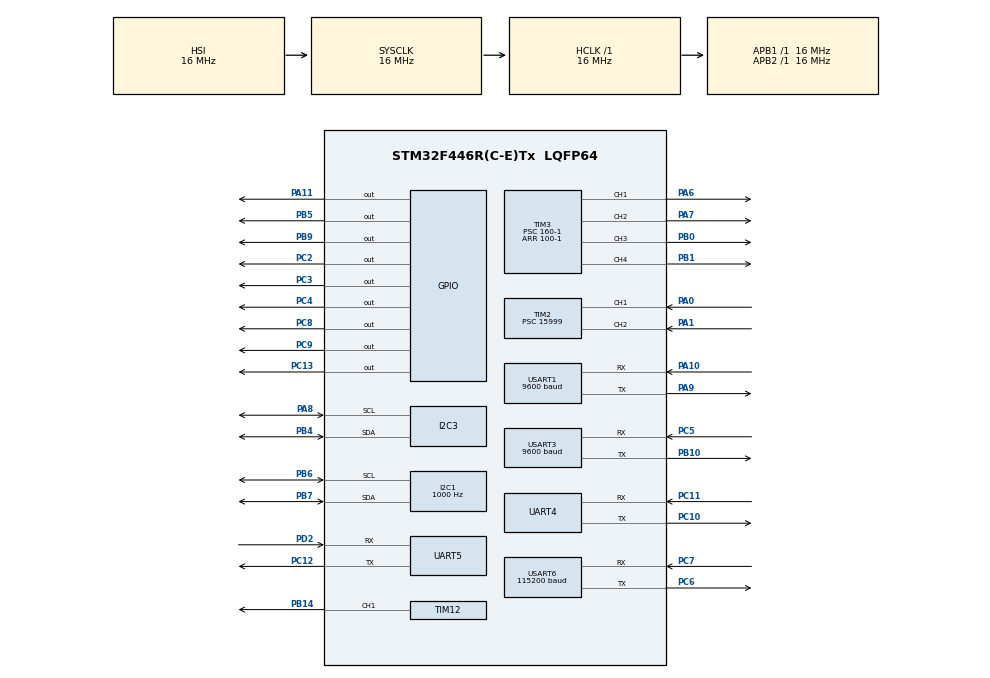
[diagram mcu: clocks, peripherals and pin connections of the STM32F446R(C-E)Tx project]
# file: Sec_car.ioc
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I2C1.ClockSpeed=1000
Mcu.Family=STM32F4
Mcu.Name=STM32F446R(C-E)Tx
Mcu.Package=LQFP64
NVIC.PriorityGroup=NVIC_PRIORITYGROUP_4
NVIC.TIM2_IRQn=true\:0\:0\:true\:false\:true\:true\:true\:true
NVIC.TIM7_IRQn=true\:15\:0\:false\:false\:true\:false\:true\:true
NVIC.TimeBase=TIM7_IRQn
NVIC.TimeBaseIP=TIM7
NVIC.UART4_IRQn=true\:6\:0\:true\:false\:true\:true\:true\:true
NVIC.UART5_IRQn=true\:6\:0\:true\:false\:true\:true\:true\:true
NVIC.USART1_IRQn=true\:8\:0\:true\:false\:true\:true\:true\:true
NVIC.USART3_IRQn=true\:7\:0\:true\:false\:true\:true\:true\:true
NVIC.USART6_IRQn=true\:6\:0\:true\:false\:true\:true\:true\:true
PA0-WKUP.Signal=S_TIM2_CH1_ETR
PA1.Signal=S_TIM2_CH2
PA10.Mode=Asynchronous
PA10.Signal=USART1_RX
PA11.Signal=GPIO_Output
PA6.Signal=S_TIM3_CH1
PA7.Signal=S_TIM3_CH2
PA8.Mode=I2C
PA8.Signal=I2C3_SCL
PA9.Mode=Asynchronous
PA9.Signal=USART1_TX
PB0.Signal=S_TIM3_CH3
PB1.Signal=S_TIM3_CH4
PB10.Mode=Asynchronous
PB10.Signal=USART3_TX
PB14.Signal=S_TIM12_CH1
PB4.Mode=I2C
PB4.Signal=I2C3_SDA
PB5.Signal=GPIO_Output
PB6.Mode=I2C
PB6.Signal=I2C1_SCL
PB7.Mode=I2C
PB7.Signal=I2C1_SDA
PB9.Signal=GPIO_Output
PC10.Mode=Asynchronous
PC10.Signal=UART4_TX
PC11.Mode=Asynchronous
PC11.Signal=UART4_RX
PC12.Mode=Asynchronous
PC12.Signal=UART5_TX
PC13.Signal=GPIO_Output
PC2.Signal=GPIO_Output
PC3.Signal=GPIO_Output
PC4.Signal=GPIO_Output
PC5.Mode=Asynchronous
PC5.Signal=USART3_RX
PC6.Mode=Asynchronous
PC6.Signal=USART6_TX
PC7.Mode=Asynchronous
PC7.Signal=USART6_RX
PC8.Signal=GPIO_Output
PC9.Signal=GPIO_Output
PD2.Mode=Asynchronous
PD2.Signal=UART5_RX
ProjectManager.HeapSize=0x200
ProjectManager.StackSize=0x400
ProjectManager.TargetToolchain=STM32CubeIDE
RCC.AHBFreq_Value=16000000
RCC.APB1Freq_Value=16000000
RCC.APB1TimFreq_Value=16000000
RCC.APB2Freq_Value=16000000
RCC.APB2TimFreq_Value=16000000
RCC.CortexFreq_Value=16000000
RCC.HCLKFreq_Value=16000000
RCC.PLLM=8
RCC.PLLN=64
RCC.SYSCLKFreq_VALUE=16000000
RCC.USBFreq_Value=64000000
RCC.VCOOutputFreq_Value=128000000
SH.S_TIM12_CH1.0=TIM12_CH1,PWM Generation1 CH1
SH.S_TIM2_CH1_ETR.0=TIM2_CH1,Input_Capture1_from_TI1
SH.S_TIM2_CH2.0=TIM2_CH2,Input_Capture2_from_TI2
SH.S_TIM3_CH1.0=TIM3_CH1,PWM Generation1 CH1
SH.S_TIM3_CH2.0=TIM3_CH2,PWM Generation2 CH2
SH.S_TIM3_CH3.0=TIM3_CH3,PWM Generation3 CH3
SH.S_TIM3_CH4.0=TIM3_CH4,PWM Generation4 CH4
TIM12.Channel-PWM\ Generation1\ CH1=TIM_CHANNEL_1
TIM12.Period=100-1
TIM12.Prescaler=80-1
TIM2.Channel-Input_Capture1_from_TI1=TIM_CHANNEL_1
TIM2.Channel-Input_Capture2_from_TI2=TIM_CHANNEL_2
TIM2.ICPolarity_CH1=TIM_INPUTCHANNELPOLARITY_BOTHEDGE
TIM2.Period=999
TIM2.Prescaler=15999
TIM3.Channel-PWM\ Generation1\ CH1=TIM_CHANNEL_1
TIM3.Channel-PWM\ Generation2\ CH2=TIM_CHANNEL_2
TIM3.Channel-PWM\ Generation3\ CH3=TIM_CHANNEL_3
TIM3.Channel-PWM\ Generation4\ CH4=TIM_CHANNEL_4
TIM3.Period=100-1
TIM3.Prescaler=160-1
UART4.VirtualMode=Asynchronous
UART5.VirtualMode=Asynchronous
USART1.BaudRate=9600
USART1.VirtualMode=VM_ASYNC
USART3.BaudRate=9600
USART3.VirtualMode=VM_ASYNC
USART6.BaudRate=115200
USART6.VirtualMode=VM_ASYNC
VP_SYS_VS_tim7.Mode=TIM7
VP_TIM6_VS_ClockSourceINT.Mode=Enable_Timer
board=custom

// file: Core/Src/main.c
/* USER CODE BEGIN Header */
/**
 ******************************************************************************
 * @file           : main.c
 * @brief          : Main program body
 ******************************************************************************
 * @attention
 *
 * Copyright (c) 2024 STMicroelectronics.
 * All rights reserved.
 *
 * This software is licensed under terms that can be found in the LICENSE file
 * in the root directory of this software component.
 * If no LICENSE file comes with this software, it is provided AS-IS.
 *
 ******************************************************************************
 */
/* USER CODE END Header */
#include "main.h"

/* USER CODE BEGIN Includes */
#include "FreeRTOS.h"
#include "task.h"
#include "timers.h"
#include "semphr.h"

#include "LCD_I2C.h"
#include "GPS.h"
#include "Help_Functions.h"
#include "calculateSpeed.h"
#include "Tasks.h"
#include "Call_Back_functions.h"
/* USER CODE END Includes */

I2C_HandleTypeDef hi2c1;
I2C_HandleTypeDef hi2c3;

TIM_HandleTypeDef htim2;
TIM_HandleTypeDef htim3;
TIM_HandleTypeDef htim6;
TIM_HandleTypeDef htim12;

UART_HandleTypeDef huart4;
UART_HandleTypeDef huart5;
UART_HandleTypeDef huart1;
UART_HandleTypeDef huart3;
UART_HandleTypeDef huart6;

/* USER CODE BEGIN PV */
#define DWT_CTRL	(*(volatile uint32_t*)0xE0001000)
/* USER CODE END PV */

void SystemClock_Config(void);
static void MX_GPIO_Init(void);
static void MX_I2C1_Init(void);
static void MX_USART1_UART_Init(void);
static void MX_USART3_UART_Init(void);
static void MX_TIM2_Init(void);
static void MX_I2C3_Init(void);
static void MX_TIM3_Init(void);
static void MX_TIM6_Init(void);
static void MX_TIM12_Init(void);
static void MX_USART6_UART_Init(void);
static void MX_UART4_Init(void);
static void MX_UART5_Init(void);

/* USER CODE BEGIN 0 */
/*****************************************Global_Varibles****************************************/
/*Received Global Blue tooth*/
uint8_t received_char;

uint8_t  ESP_Recieved_Char;
uint16_t Rasp_Recieved_Char;

/*Creating tasks handlers*/
TaskHandle_t Handle_CarControl;
TaskHandle_t Handle_GPS;
TaskHandle_t Handle_ESP_Periodic;
TaskHandle_t Handle_ESP_Status;
TaskHandle_t Handle_ESP_Receive;
TaskHandle_t Handle_Rasp_ReceiveData;

/*Creating a variable to save the return of the xcreateTask function (pdPass or pdFail)*/
BaseType_t Status_CarControl;
BaseType_t Status_GPS;
BaseType_t Status_ESP_Periodic;
BaseType_t Status_ESP_Status;
BaseType_t Status_ESP_Receive;
BaseType_t Status_Rasp_Receive;

/* Creating SW Timers handles and ID */
TimerHandle_t Handle_Timer_LightStop;
uint8_t ID_TImer_LightStop = 4;

/* USER CODE END 0 */

int main(void)
{

  /* MCU Configuration--------------------------------------------------------*/

  /* Reset of all peripherals, Initializes the Flash interface and the Systick. */
  HAL_Init();

  /* Configure the system clock */
  SystemClock_Config();

  /* Initialize all configured peripherals */
  MX_GPIO_Init();
  MX_I2C1_Init();
  MX_USART1_UART_Init();
  MX_USART3_UART_Init();
  MX_TIM2_Init();
  MX_I2C3_Init();
  MX_TIM3_Init();
  MX_TIM6_Init();
  MX_TIM12_Init();
  MX_USART6_UART_Init();
  MX_UART4_Init();
  MX_UART5_Init();
  /* USER CODE BEGIN 2 */
	/********************************Hardware_Initializing*********************************************/
	//GPS_voidInit();
	LCD_voidInit();

	/********************************Interrupts_Starting***********************************************/
	HAL_UART_Receive_IT(&huart5,&ESP_Recieved_Char,2);                   //ESP
	HAL_UART_Receive_IT(&huart6,&Rasp_Recieved_Char,1);				 	 //Raspberry
	HAL_UART_Receive_IT(&huart3,&received_char ,1);                      //Blue tooth
	__HAL_TIM_ENABLE_IT(&htim2, TIM_IT_UPDATE);                          //Speed
	HAL_TIM_IC_Start_IT(&htim2, TIM_CHANNEL_1);                          //Speed
	HAL_TIM_IC_Start_IT(&htim2, TIM_CHANNEL_2);							 //Speed

	/********************************SEGGER_Starting***************************************************/
	//Enable the CYCCN counter (For SEGGER)
	//		DWT_CTRL |= (1<<0);
	//
	//		SEGGER_SYSVIEW_Conf();
	//
	//		SEGGER_SYSVIEW_Start();

		/************************************SW_Timers-Creation********************************************/
		Handle_Timer_LightStop = xTimerCreate("Timer_LightStop", pdMS_TO_TICKS(5000), pdFALSE, &ID_TImer_LightStop, CallBack_TimerLightStop);

		/************************************TASKS_Creation************************************************/
		Status_GPS = xTaskCreate(TASK_GPS, "GPS", 150, NULL, Priority_TASK_GPS, &Handle_GPS);

		configASSERT(Status_GPS==pdPASS);

		Status_CarControl = xTaskCreate(TASK_CarControl, "CarControl", 200, NULL, Priority_TASK_CarControl, &Handle_CarControl);

		configASSERT(Status_CarControl==pdPASS);

		Status_ESP_Periodic = xTaskCreate(TASK_ESPSend_PeriodicData, "ESP_Periodic", 200, NULL, Priority_TASK_ESP_Periodic, &Handle_ESP_Periodic);

		configASSERT(Status_ESP_Periodic==pdPASS);

		Status_ESP_Status = xTaskCreate(TASK_ESP_SendStatus, "ESP_Status", 200, NULL, Priority_TASK_ESP_Status, &Handle_ESP_Status);

		configASSERT(Status_ESP_Status==pdPASS);

		Status_ESP_Receive = xTaskCreate(TASK_ESP_Receive, "ESP_Receive", 200, NULL, Priority_TASK_ESP_Receive, &Handle_ESP_Receive);

		configASSERT(Status_ESP_Receive==pdPASS);

		Status_Rasp_Receive = xTaskCreate(TASK_Rasp_Receive, "Rasp_Recieve", 200, NULL ,Priority_TASK_Rasp_Recieve, &Handle_Rasp_ReceiveData);

		configASSERT(Status_Rasp_Receive == pdPASS);

		/**********************************Schedular_Starting********************************************/
		vTaskStartScheduler();

  /* USER CODE END 2 */

  /* Infinite loop */
	while (1)
	{

	}
}

void SystemClock_Config(void)
{
  RCC_OscInitTypeDef RCC_OscInitStruct = {0};
  RCC_ClkInitTypeDef RCC_ClkInitStruct = {0};

  /** Configure the main internal regulator output voltage
  */
  __HAL_RCC_PWR_CLK_ENABLE();
  __HAL_PWR_VOLTAGESCALING_CONFIG(PWR_REGULATOR_VOLTAGE_SCALE3);

  /** Initializes the RCC Oscillators according to the specified parameters
  * in the RCC_OscInitTypeDef structure.
  */
  RCC_OscInitStruct.OscillatorType = RCC_OSCILLATORTYPE_HSI;
  RCC_OscInitStruct.HSIState = RCC_HSI_ON;
  RCC_OscInitStruct.HSICalibrationValue = RCC_HSICALIBRATION_DEFAULT;
  RCC_OscInitStruct.PLL.PLLState = RCC_PLL_NONE;
  if (HAL_RCC_OscConfig(&RCC_OscInitStruct) != HAL_OK)
  {
    Error_Handler();
  }

  /** Initializes the CPU, AHB and APB buses clocks
  */
  RCC_ClkInitStruct.ClockType = RCC_CLOCKTYPE_HCLK|RCC_CLOCKTYPE_SYSCLK
                              |RCC_CLOCKTYPE_PCLK1|RCC_CLOCKTYPE_PCLK2;
  RCC_ClkInitStruct.SYSCLKSource = RCC_SYSCLKSOURCE_HSI;
  RCC_ClkInitStruct.AHBCLKDivider = RCC_SYSCLK_DIV1;
  RCC_ClkInitStruct.APB1CLKDivider = RCC_HCLK_DIV1;
  RCC_ClkInitStruct.APB2CLKDivider = RCC_HCLK_DIV1;

  if (HAL_RCC_ClockConfig(&RCC_ClkInitStruct, FLASH_LATENCY_0) != HAL_OK)
  {
    Error_Handler();
  }
}

static void MX_I2C1_Init(void)
{

  hi2c1.Instance = I2C1;
  hi2c1.Init.ClockSpeed = 1000;
  hi2c1.Init.DutyCycle = I2C_DUTYCYCLE_2;
  hi2c1.Init.OwnAddress1 = 0;
  hi2c1.Init.AddressingMode = I2C_ADDRESSINGMODE_7BIT;
  hi2c1.Init.DualAddressMode = I2C_DUALADDRESS_DISABLE;
  hi2c1.Init.OwnAddress2 = 0;
  hi2c1.Init.GeneralCallMode = I2C_GENERALCALL_DISABLE;
  hi2c1.Init.NoStretchMode = I2C_NOSTRETCH_DISABLE;
  if (HAL_I2C_Init(&hi2c1) != HAL_OK)
  {
    Error_Handler();
  }

}

static void MX_I2C3_Init(void)
{

  hi2c3.Instance = I2C3;
  hi2c3.Init.ClockSpeed = 100000;
  hi2c3.Init.DutyCycle = I2C_DUTYCYCLE_2;
  hi2c3.Init.OwnAddress1 = 0;
  hi2c3.Init.AddressingMode = I2C_ADDRESSINGMODE_7BIT;
  hi2c3.Init.DualAddressMode = I2C_DUALADDRESS_DISABLE;
  hi2c3.Init.OwnAddress2 = 0;
  hi2c3.Init.GeneralCallMode = I2C_GENERALCALL_DISABLE;
  hi2c3.Init.NoStretchMode = I2C_NOSTRETCH_DISABLE;
  if (HAL_I2C_Init(&hi2c3) != HAL_OK)
  {
    Error_Handler();
  }

}

static void MX_TIM2_Init(void)
{

  TIM_MasterConfigTypeDef sMasterConfig = {0};
  TIM_IC_InitTypeDef sConfigIC = {0};

  htim2.Instance = TIM2;
  htim2.Init.Prescaler = 15999;
  htim2.Init.CounterMode = TIM_COUNTERMODE_UP;
  htim2.Init.Period = 999;
  htim2.Init.ClockDivision = TIM_CLOCKDIVISION_DIV1;
  htim2.Init.AutoReloadPreload = TIM_AUTORELOAD_PRELOAD_DISABLE;
  if (HAL_TIM_IC_Init(&htim2) != HAL_OK)
  {
    Error_Handler();
  }
  sMasterConfig.MasterOutputTrigger = TIM_TRGO_RESET;
  sMasterConfig.MasterSlaveMode = TIM_MASTERSLAVEMODE_DISABLE;
  if (HAL_TIMEx_MasterConfigSynchronization(&htim2, &sMasterConfig) != HAL_OK)
  {
    Error_Handler();
  }
  sConfigIC.ICPolarity = TIM_INPUTCHANNELPOLARITY_BOTHEDGE;
  sConfigIC.ICSelection = TIM_ICSELECTION_DIRECTTI;
  sConfigIC.ICPrescaler = TIM_ICPSC_DIV1;
  sConfigIC.ICFilter = 0;
  if (HAL_TIM_IC_ConfigChannel(&htim2, &sConfigIC, TIM_CHANNEL_1) != HAL_OK)
  {
    Error_Handler();
  }
  sConfigIC.ICPolarity = TIM_INPUTCHANNELPOLARITY_RISING;
  if (HAL_TIM_IC_ConfigChannel(&htim2, &sConfigIC, TIM_CHANNEL_2) != HAL_OK)
  {
    Error_Handler();
  }

}

static void MX_TIM3_Init(void)
{

  TIM_MasterConfigTypeDef sMasterConfig = {0};
  TIM_OC_InitTypeDef sConfigOC = {0};

  htim3.Instance = TIM3;
  htim3.Init.Prescaler = 160-1;
  htim3.Init.CounterMode = TIM_COUNTERMODE_UP;
  htim3.Init.Period = 100-1;
  htim3.Init.ClockDivision = TIM_CLOCKDIVISION_DIV1;
  htim3.Init.AutoReloadPreload = TIM_AUTORELOAD_PRELOAD_DISABLE;
  if (HAL_TIM_PWM_Init(&htim3) != HAL_OK)
  {
    Error_Handler();
  }
  sMasterConfig.MasterOutputTrigger = TIM_TRGO_RESET;
  sMasterConfig.MasterSlaveMode = TIM_MASTERSLAVEMODE_DISABLE;
  if (HAL_TIMEx_MasterConfigSynchronization(&htim3, &sMasterConfig) != HAL_OK)
  {
    Error_Handler();
  }
  sConfigOC.OCMode = TIM_OCMODE_PWM1;
  sConfigOC.Pulse = 0;
  sConfigOC.OCPolarity = TIM_OCPOLARITY_HIGH;
  sConfigOC.OCFastMode = TIM_OCFAST_DISABLE;
  if (HAL_TIM_PWM_ConfigChannel(&htim3, &sConfigOC, TIM_CHANNEL_1) != HAL_OK)
  {
    Error_Handler();
  }
  if (HAL_TIM_PWM_ConfigChannel(&htim3, &sConfigOC, TIM_CHANNEL_2) != HAL_OK)
  {
    Error_Handler();
  }
  if (HAL_TIM_PWM_ConfigChannel(&htim3, &sConfigOC, TIM_CHANNEL_3) != HAL_OK)
  {
    Error_Handler();
  }
  if (HAL_TIM_PWM_ConfigChannel(&htim3, &sConfigOC, TIM_CHANNEL_4) != HAL_OK)
  {
    Error_Handler();
  }
  HAL_TIM_MspPostInit(&htim3);

}

static void MX_TIM6_Init(void)
{

  TIM_MasterConfigTypeDef sMasterConfig = {0};

  htim6.Instance = TIM6;
  htim6.Init.Prescaler = 0;
  htim6.Init.CounterMode = TIM_COUNTERMODE_UP;
  htim6.Init.Period = 65535;
  htim6.Init.AutoReloadPreload = TIM_AUTORELOAD_PRELOAD_DISABLE;
  if (HAL_TIM_Base_Init(&htim6) != HAL_OK)
  {
    Error_Handler();
  }
  sMasterConfig.MasterOutputTrigger = TIM_TRGO_RESET;
  sMasterConfig.MasterSlaveMode = TIM_MASTERSLAVEMODE_DISABLE;
  if (HAL_TIMEx_MasterConfigSynchronization(&htim6, &sMasterConfig) != HAL_OK)
  {
    Error_Handler();
  }

}

static void MX_TIM12_Init(void)
{

  TIM_OC_InitTypeDef sConfigOC = {0};

  htim12.Instance = TIM12;
  htim12.Init.Prescaler = 80-1;
  htim12.Init.CounterMode = TIM_COUNTERMODE_UP;
  htim12.Init.Period = 100-1;
  htim12.Init.ClockDivision = TIM_CLOCKDIVISION_DIV1;
  htim12.Init.AutoReloadPreload = TIM_AUTORELOAD_PRELOAD_DISABLE;
  if (HAL_TIM_PWM_Init(&htim12) != HAL_OK)
  {
    Error_Handler();
  }
  sConfigOC.OCMode = TIM_OCMODE_PWM1;
  sConfigOC.Pulse = 0;
  sConfigOC.OCPolarity = TIM_OCPOLARITY_HIGH;
  sConfigOC.OCFastMode = TIM_OCFAST_DISABLE;
  if (HAL_TIM_PWM_ConfigChannel(&htim12, &sConfigOC, TIM_CHANNEL_1) != HAL_OK)
  {
    Error_Handler();
  }
  HAL_TIM_MspPostInit(&htim12);

}

static void MX_UART4_Init(void)
{

  huart4.Instance = UART4;
  huart4.Init.BaudRate = 115200;
  huart4.Init.WordLength = UART_WORDLENGTH_8B;
  huart4.Init.StopBits = UART_STOPBITS_1;
  huart4.Init.Parity = UART_PARITY_NONE;
  huart4.Init.Mode = UART_MODE_TX_RX;
  huart4.Init.HwFlowCtl = UART_HWCONTROL_NONE;
  huart4.Init.OverSampling = UART_OVERSAMPLING_16;
  if (HAL_UART_Init(&huart4) != HAL_OK)
  {
    Error_Handler();
  }

}

static void MX_UART5_Init(void)
{

  huart5.Instance = UART5;
  huart5.Init.BaudRate = 115200;
  huart5.Init.WordLength = UART_WORDLENGTH_8B;
  huart5.Init.StopBits = UART_STOPBITS_1;
  huart5.Init.Parity = UART_PARITY_NONE;
  huart5.Init.Mode = UART_MODE_TX_RX;
  huart5.Init.HwFlowCtl = UART_HWCONTROL_NONE;
  huart5.Init.OverSampling = UART_OVERSAMPLING_16;
  if (HAL_UART_Init(&huart5) != HAL_OK)
  {
    Error_Handler();
  }

}

static void MX_USART1_UART_Init(void)
{

  huart1.Instance = USART1;
  huart1.Init.BaudRate = 9600;
  huart1.Init.WordLength = UART_WORDLENGTH_8B;
  huart1.Init.StopBits = UART_STOPBITS_1;
  huart1.Init.Parity = UART_PARITY_NONE;
  huart1.Init.Mode = UART_MODE_TX_RX;
  huart1.Init.HwFlowCtl = UART_HWCONTROL_NONE;
  huart1.Init.OverSampling = UART_OVERSAMPLING_16;
  if (HAL_UART_Init(&huart1) != HAL_OK)
  {
    Error_Handler();
  }

}

static void MX_USART3_UART_Init(void)
{

  huart3.Instance = USART3;
  huart3.Init.BaudRate = 9600;
  huart3.Init.WordLength = UART_WORDLENGTH_8B;
  huart3.Init.StopBits = UART_STOPBITS_1;
  huart3.Init.Parity = UART_PARITY_NONE;
  huart3.Init.Mode = UART_MODE_TX_RX;
  huart3.Init.HwFlowCtl = UART_HWCONTROL_NONE;
  huart3.Init.OverSampling = UART_OVERSAMPLING_16;
  if (HAL_UART_Init(&huart3) != HAL_OK)
  {
    Error_Handler();
  }

}

static void MX_USART6_UART_Init(void)
{

  huart6.Instance = USART6;
  huart6.Init.BaudRate = 115200;
  huart6.Init.WordLength = UART_WORDLENGTH_8B;
  huart6.Init.StopBits = UART_STOPBITS_1;
  huart6.Init.Parity = UART_PARITY_NONE;
  huart6.Init.Mode = UART_MODE_TX_RX;
  huart6.Init.HwFlowCtl = UART_HWCONTROL_NONE;
  huart6.Init.OverSampling = UART_OVERSAMPLING_16;
  if (HAL_UART_Init(&huart6) != HAL_OK)
  {
    Error_Handler();
  }

}

static void MX_GPIO_Init(void)
{
  GPIO_InitTypeDef GPIO_InitStruct = {0};

  /* GPIO Ports Clock Enable */
  __HAL_RCC_GPIOC_CLK_ENABLE();
  __HAL_RCC_GPIOA_CLK_ENABLE();
  __HAL_RCC_GPIOB_CLK_ENABLE();
  __HAL_RCC_GPIOD_CLK_ENABLE();

  /*Configure GPIO pin Output Level */
  HAL_GPIO_WritePin(GPIOC, GPIO_PIN_13|GPIO_PIN_2|GPIO_PIN_3|GPIO_PIN_4
                          |GPIO_PIN_8|GPIO_PIN_9, GPIO_PIN_RESET);

  /*Configure GPIO pin Output Level */
  HAL_GPIO_WritePin(GPIOA, GPIO_PIN_11, GPIO_PIN_RESET);

  /*Configure GPIO pin Output Level */
  HAL_GPIO_WritePin(GPIOB, GPIO_PIN_5|GPIO_PIN_9, GPIO_PIN_RESET);

  /*Configure GPIO pins : PC13 PC2 PC3 PC4
                           PC8 PC9 */
  GPIO_InitStruct.Pin = GPIO_PIN_13|GPIO_PIN_2|GPIO_PIN_3|GPIO_PIN_4
                          |GPIO_PIN_8|GPIO_PIN_9;
  GPIO_InitStruct.Mode = GPIO_MODE_OUTPUT_PP;
  GPIO_InitStruct.Pull = GPIO_NOPULL;
  GPIO_InitStruct.Speed = GPIO_SPEED_FREQ_LOW;
  HAL_GPIO_Init(GPIOC, &GPIO_InitStruct);

  /*Configure GPIO pin : PA11 */
  GPIO_InitStruct.Pin = GPIO_PIN_11;
  GPIO_InitStruct.Mode = GPIO_MODE_OUTPUT_PP;
  GPIO_InitStruct.Pull = GPIO_NOPULL;
  GPIO_InitStruct.Speed = GPIO_SPEED_FREQ_LOW;
  HAL_GPIO_Init(GPIOA, &GPIO_InitStruct);

  /*Configure GPIO pins : PB5 PB9 */
  GPIO_InitStruct.Pin = GPIO_PIN_5|GPIO_PIN_9;
  GPIO_InitStruct.Mode = GPIO_MODE_OUTPUT_PP;
  GPIO_InitStruct.Pull = GPIO_NOPULL;
  GPIO_InitStruct.Speed = GPIO_SPEED_FREQ_LOW;
  HAL_GPIO_Init(GPIOB, &GPIO_InitStruct);

}

void HAL_TIM_PeriodElapsedCallback(TIM_HandleTypeDef *htim)
{
  if (htim->Instance == TIM7) {
    HAL_IncTick();
  }
}

void Error_Handler(void)
{
	__disable_irq();
	while (1)
	{
	}
}
